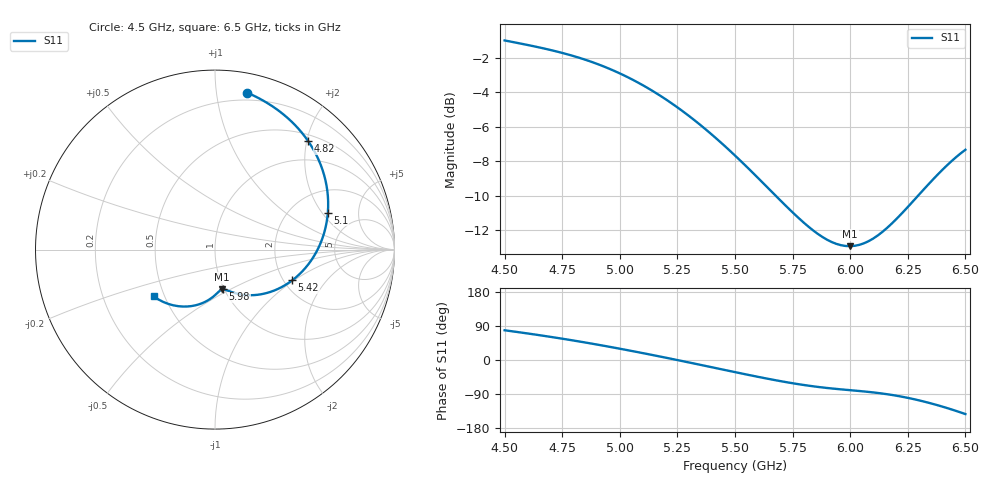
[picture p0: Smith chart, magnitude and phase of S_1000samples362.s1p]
! TOUCHSTONE file generated by CST MICROWAVE STUDIO
! Date and time: Thu Oct 27 21:59:09 2022
! Project name: L.cst
! Parameters = {Di=1.27; Epsilon_r=1.56; InnerDiameter=1.27; Length=2; Lf=10; Lg=60; OuterConductorThickness=0.2921; OuterDiameter=3.6; Wf=3; Wp=41.2; de=1.5; df=6.8; g=0.8; gx=0.995264; gy=2.66845; h=2.34; hf=1.524; px=9.97374; py=10.6134; w=9.7; wx=8.97847; wy=7.9449}
! Header version: 2018
! Port assignment regex: !\s*Touchstone port\s*([0-9]+)\s*=\s*(CST MWS port|CST DS port)\s*([0-9]+|Zmin|Zmax)\s*\(\"(.*)\"\)(\s*mode\s*([0-9]+))?.*
! Touchstone port assignment:
! Touchstone port 1 = CST MWS port 1 ("")
# GHz S DB R 50
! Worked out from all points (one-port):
!   101 points, 4.5 GHz to 6.5 GHz, reference 50 ohm
!   lowest |S11| = -12.9 dB at 6 GHz (marker M1), VSWR 1.58, Z = 48.9 - j22.9 ohm
!   |S11| at or under -10 dB: 5.677 GHz to 6.294 GHz (617.7 MHz wide, 10.3 % of centre)
!   S11 on the Smith chart (normalised r, x): 4.5 GHz: 0.14, +1.22; 4.82 GHz: 0.62, +2.03; 5.1 GHz: 3.12, +2.29; 5.42 GHz: 2.22, -0.97; 5.98 GHz: 0.99, -0.46; 6.5 GHz: 0.44, -0.28
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4.5  -0.99 78.5
4.58  -1.20 71.7
4.64  -1.36 66.5
4.76  -1.75 55.3
4.82  -1.98 49.3
4.92  -2.44 38.7
5  -2.90 29.8
5.1  -3.59 18.2
5.18  -4.23 8.5
5.26  -4.97 -1.4
5.34  -5.79 -11.5
5.42  -6.69 -21.8
5.5  -7.67 -32.0
5.56  -8.44 -39.5
5.62  -9.24 -46.8
5.7  -10.31 -56.0
5.76  -11.09 -62.3
5.88  -12.40 -72.5
5.98  -12.92 -78.6
6  -12.93 -79.7
6.06  -12.76 -83.0
6.12  -12.30 -87.0
6.2  -11.36 -94.2
6.26  -10.51 -101.2
6.32  -9.62 -109.7
6.4  -8.50 -123.0
6.46  -7.76 -134.4
6.5  -7.33 -142.7
